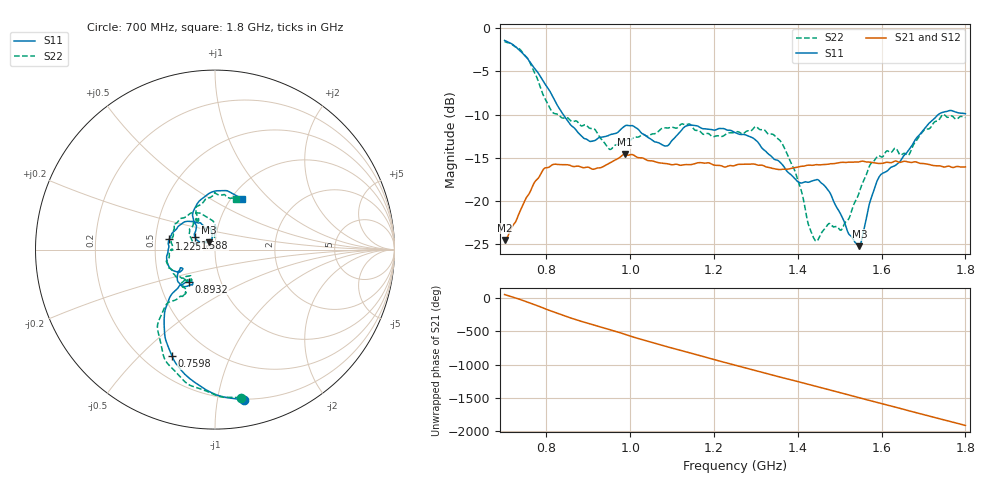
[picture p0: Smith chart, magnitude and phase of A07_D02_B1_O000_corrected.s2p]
! Created with skrf 1.9.0 (http://scikit-rf.org).
# Hz S RI R 50.0
!freq ReS11 ImS11 ReS21 ImS21 ReS12 ImS12 ReS22 ImS22
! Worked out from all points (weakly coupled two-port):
!   1601 points, 700 MHz to 1.8 GHz, reference 50 ohm
!   highest |S21| = -14.61 dB at 986.7 MHz (marker M1); lowest = -24.5 dB at 700 MHz (marker M2)
!   lowest |S11| = -25.2 dB at 1.547 GHz (marker M3), VSWR 1.12, Z = 46.4 + j3.87 ohm
!   |S11| at or under -10 dB: 840.1 MHz to 1.735 GHz (894.8 MHz wide, 69.5 % of centre)
!   |S22| runs from -24.7 to -1.5 dB; largest |S21 - S12| = 0.0035
!   S11 on the Smith chart (normalised r, x): 700 MHz: 0.20, -1.19; 759.8 MHz: 0.31, -0.63; 893.2 MHz: 0.71, -0.27; 1.225 GHz: 0.59, +0.07; 1.588 GHz: 0.80, +0.11; 1.8 GHz: 1.11, +0.70
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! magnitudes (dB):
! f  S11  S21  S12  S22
! 700 MHz  -1.4  -24.5  -24.3  -1.5
! 759.8 MHz  -3.9  -19.0  -18.9  -3.9
! 813.4 MHz  -7.8  -15.8  -15.8  -9.7
! 883.6 MHz  -12.5  -16.1  -16.0  -11.3
! 893.2 MHz  -12.8  -16.1  -16.2  -11.2
! 950.2 MHz  -12.4  -15.6  -15.6  -14.0
! 986.7 MHz  -11.3  -14.6  -14.7  -12.9
! 1.067 GHz  -13.2  -15.6  -15.5  -11.9
! 1.139 GHz  -11.2  -15.8  -15.7  -11.1
! 1.225 GHz  -11.6  -16.1  -16.0  -12.4
! 1.25 GHz  -12.1  -15.9  -15.8  -12.0
! 1.359 GHz  -15.6  -16.4  -16.3  -13.1
! 1.396 GHz  -17.6  -16.1  -16.1  -16.9
! 1.434 GHz  -17.7  -15.9  -15.8  -23.8
! 1.467 GHz  -18.4  -15.8  -15.7  -23.1
! 1.504 GHz  -21.7  -15.5  -15.5  -23.3
! 1.547 GHz  -25.2  -15.5  -15.4  -18.9
! 1.588 GHz  -17.8  -15.6  -15.6  -14.9
! 1.617 GHz  -16.3  -15.5  -15.5  -14.3
! 1.664 GHz  -14.1  -15.5  -15.5  -14.7
! 1.737 GHz  -9.9  -15.9  -16.0  -10.6
! 1.8 GHz  -9.9  -16.1  -16.0  -10.3
